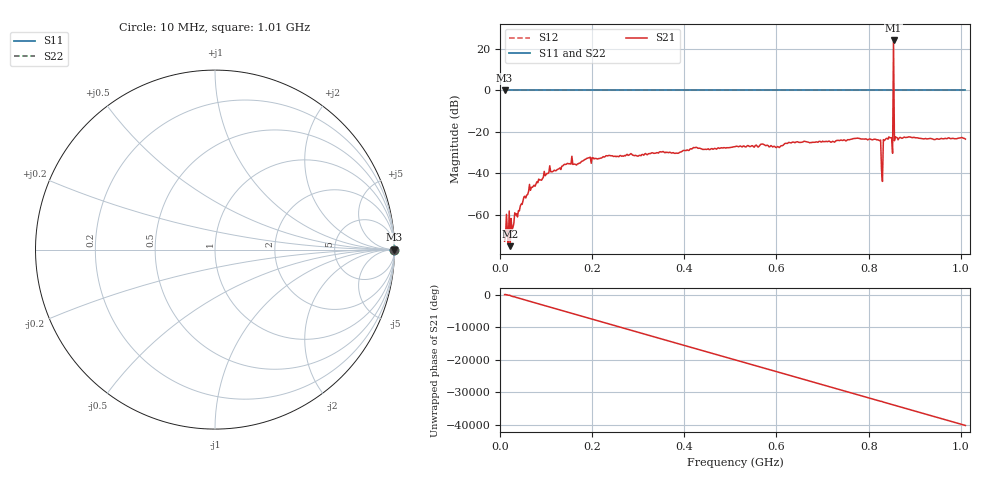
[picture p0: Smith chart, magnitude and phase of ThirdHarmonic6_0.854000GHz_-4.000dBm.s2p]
! 8/16/2025 4:15:01 AM
! C:\ANRITSUVNA\TEMP\TEMP.S2P
! CHANNEL.1
! TR.MEASUREMENT
! RAW.DATA
! RF.CORRECTION.OFF
! AVERAGING.OFF
! IF.BANDWIDTH: 5KHZ
! SWEEPTYPE:  FREQ.SWEEP(Linear)
! Reference Plane Port Info
! PORT:  PORT1  PORT2
! DISTANCE:  0  m  0  m
! TIME:  0  s  0  s
! PHASE.OFFSET:  0  deg.  0  deg.
! LOSS:  0  dB  0  dB
! REF.LOSS:  0  dB  0  dB
! REF.FREQ:  0  Hz  0  Hz
! Power Info
! POWER:  -20  dBm  -20  dBm
! EFF.POWER:  -20  dBm  -20  dBm
! SOURCE.ATTEN:  0  dB  0  dB
! TEST.ATTEN:  0  dB  0  dB
# GHZ S RI R 50.0
! FREQ.GHZ  S11RE  S11IM  S21RE  S21IM  S12RE  S12IM  S22RE  S22IM
!; PortSelection: Port_12
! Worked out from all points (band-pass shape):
!   501 points, 10 MHz to 1.01 GHz, reference 50 ohm
!   highest |S21| = 24.00 dB at 854 MHz (marker M1); lowest = -75.1 dB at 22 MHz (marker M2)
!   |S21| within 3 dB of the highest: 853.8896 MHz to 854.1243 MHz (234.7 kHz wide, 0.0275 % of centre)
!   lowest |S11| = 0.0 dB at 10 MHz (marker M3)
!   |S11| at or under -10 dB: nowhere
!   |S22| runs from 0.0 to 0.0 dB; largest |S21 - S12| = 15
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0.01  1 0  0.000226 5.36e-05  1 0  1 0
0.014  1 0  0.000921 -0.000458  1 0  1 0
0.016  1 0  -1.3e-06 -0.000427  1 0  1 0
0.022  1 0  -4.73e-05 0.00017  1 0  1 0
0.068  1 0  0.00384 -0.0025  1 0  1 0
0.106  1 0  -0.00779 -0.00701  1 0  1 0
0.178  1 0  -0.019 -0.0049  1 0  1 0
0.344  1 0  0.0304 -0.0051  1 0  1 0
0.51  1 0  -0.0422 0.0125  1 0  1 0
0.678  1 0  -0.0196 -0.0523  1 0  1 0
0.816  1 0  -0.000437 0.0654  1 0  1 0
0.822  1 0  -0.0547 -0.0311  1 0  1 0
0.826  1 0  0.0382 0.0505  1 0  1 0
0.832  1 0  -0.0644 0.00827  1 0  1 0
0.836  1 0  0.0622 0.0176  1 0  1 0
0.844  1 0  0.0424 0.0626  1 0  1 0
0.848  1 0  -0.026 -0.0676  1 0  1 0
0.85  1 0  -0.0706 0.0152  1 0  1 0
0.854  1 0  15.84 -0.3096  1 0  1 0
0.858  1 0  -0.0694 -0.0304  1 0  1 0
0.86  1 0  -0.0384 0.0621  1 0  1 0
1.01  1 0  -0.0616 -0.0258  1 0  1 0
